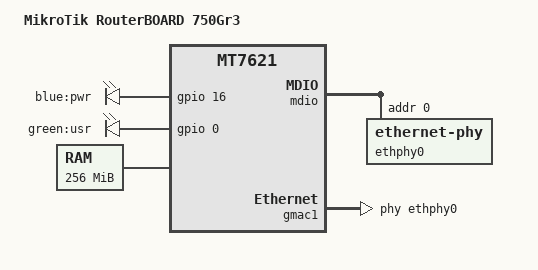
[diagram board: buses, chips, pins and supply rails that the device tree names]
// SPDX-License-Identifier: GPL-2.0-or-later OR MIT

/dts-v1/;

#include "mt7621_mikrotik_routerboard-7xx.dtsi"

/ {
	compatible = "mikrotik,routerboard-750gr3", "mediatek,mt7621-soc";
	model = "MikroTik RouterBOARD 750Gr3";

	aliases {
		led-boot = &led_usr;
		led-failsafe = &led_usr;
		led-running = &led_usr;
		led-upgrade = &led_usr;
		label-mac-device = &gmac1;
	};

	leds {
		compatible = "gpio-leds";

		pwr {
			label = "blue:pwr";
			gpios = <&gpio 16 GPIO_ACTIVE_HIGH>;
			default-state = "on";
		};

		led_usr: usr {
			label = "green:usr";
			gpios = <&gpio 0 GPIO_ACTIVE_HIGH>;
		};
	};

	memory@0 {
		device_type = "memory";
		reg = <0x0 0x10000000>;
	};
};

/* RB750Gr3 REAL: ether1 (wan) = gmac1 RGMII + phy externo ethphy0 (OpenWrt 25.12.5) */
&mdio {
	ethphy0: ethernet-phy@0 {
		reg = <0>;
		interrupts = <0>;
		eee-broken-100tx;
		eee-broken-1000t;
	};
};

&gmac1 {
	status = "okay";
	label = "wan";
	phy-handle = <&ethphy0>;

	nvmem-cells = <&macaddr_hard 0>;
	nvmem-cell-names = "mac-address";
};

&ethphy0 {
	/delete-property/ interrupts;
};
